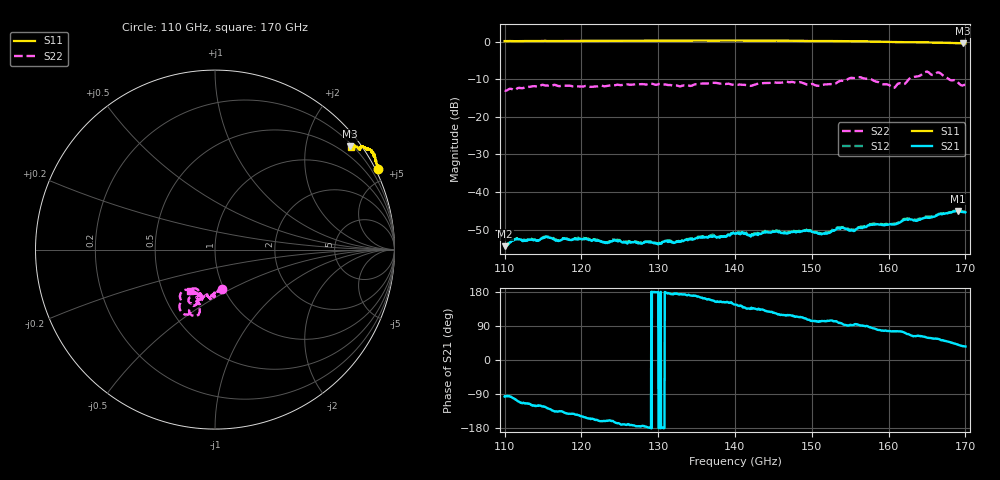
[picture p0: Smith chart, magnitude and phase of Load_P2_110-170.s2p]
!Keysight Technologies,N5247B,MY61256062,A.16.20.04
!Date: Wednesday, November 26, 2025 04:19:41
!Correction: S11(C  2-Port  )
!S21(C  2-Port  )
!S12(C  2-Port  )
!S22(C  2-Port  )
!S2P File: Measurements: S11, S21, S12, S22:
# Hz S  RI  R 50
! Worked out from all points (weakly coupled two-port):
!   1471 points, 110 GHz to 170 GHz, reference 50 ohm
!   highest |S21| = -45.06 dB at 169 GHz (marker M1); lowest = -54.4 dB at 110.1 GHz (marker M2)
!   lowest |S11| = -0.5 dB at 169.7 GHz (marker M3), VSWR 36.58, Z = 13.2 + j147 ohm
!   |S11| at or under -10 dB: nowhere
!   |S22| runs from -13.0 to -8.0 dB; largest |S21 - S12| = 0.00024
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1.1e11  0.9088 0.4495  -0.000216 -0.00191  -0.000267 -0.00196  0.0415 -0.22
1.100816e11  0.9092 0.4496  -0.000202 -0.00189  -0.000277 -0.00195  0.0361 -0.2204
1.115918e11  0.9101 0.444  -0.00069 -0.00226  -0.000774 -0.00225  -0.00262 -0.2372
1.149796e11  0.9118 0.4618  -0.00129 -0.00205  -0.00137 -0.00209  -0.00737 -0.266
1.2e11  0.8992 0.4824  -0.00201 -0.00122  -0.00208 -0.00124  -0.012 -0.2523
1.3e11  0.8899 0.5167  -0.00201 1.92e-05  -0.00206 5.17e-05  -0.0342 -0.2685
1.386531e11  0.8791 0.5407  -0.00224 0.0012  -0.00224 0.0013  -0.0756 -0.2623
1.4e11  0.8804 0.5415  -0.00231 0.00153  -0.00239 0.00163  -0.0767 -0.2555
1.418776e11  0.8739 0.5406  -0.00193 0.00186  -0.00197 0.0019  -0.0817 -0.2455
1.466531e11  0.869 0.5524  -0.00134 0.00248  -0.00134 0.00254  -0.0987 -0.2754
1.5e11  0.8516 0.5612  -0.000683 0.00289  -0.000717 0.00294  -0.0872 -0.2591
1.513469e11  0.8487 0.5603  -0.000616 0.00269  -0.000647 0.00277  -0.1022 -0.2419
1.536327e11  0.8484 0.5584  -0.00045 0.00323  -0.000425 0.00333  -0.1418 -0.2641
1.562041e11  0.8369 0.5676  -0.000103 0.00334  -0.000121 0.00341  -0.1244 -0.3132
1.6e11  0.8102 0.5697  0.000841 0.00358  0.00088 0.00361  -0.0868 -0.2512
1.606531e11  0.8045 0.5655  0.000918 0.00358  0.000988 0.00364  -0.1047 -0.2181
1.622041e11  0.805 0.5594  0.00139 0.00406  0.00157 0.00408  -0.1662 -0.2243
1.649388e11  0.7953 0.5699  0.00234 0.00398  0.00235 0.00402  -0.1737 -0.359
1.666531e11  0.7751 0.5833  0.00298 0.00411  0.00294 0.00416  -0.1036 -0.3701
1.689796e11  0.7554 0.5836  0.00421 0.00367  0.00435 0.00358  -0.0878 -0.2772
1.697143e11  0.7526 0.5745  0.00432 0.0032  0.00449 0.00314  -0.1227 -0.2316
1.7e11  0.7552 0.5711  0.00437 0.00313  0.0045 0.00302  -0.1414 -0.2285
